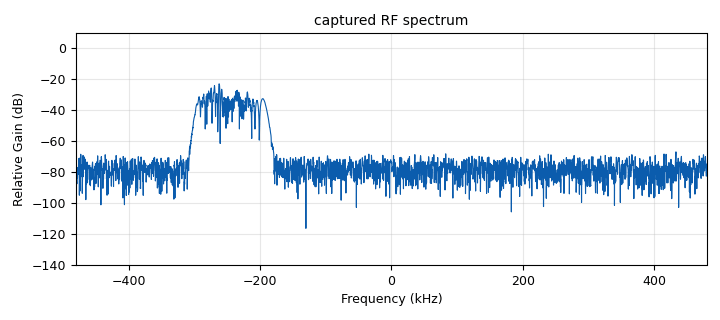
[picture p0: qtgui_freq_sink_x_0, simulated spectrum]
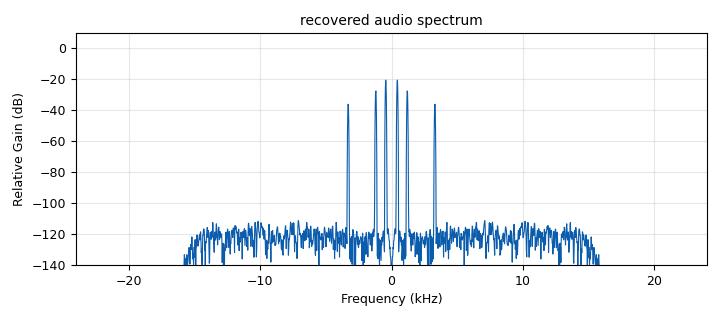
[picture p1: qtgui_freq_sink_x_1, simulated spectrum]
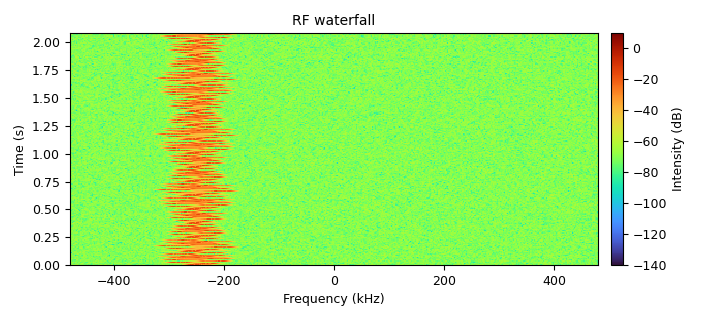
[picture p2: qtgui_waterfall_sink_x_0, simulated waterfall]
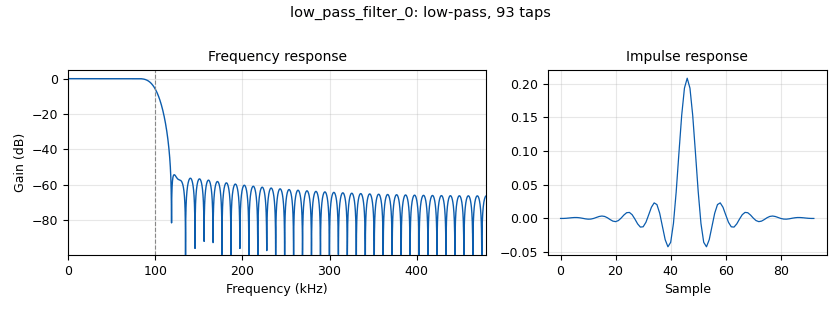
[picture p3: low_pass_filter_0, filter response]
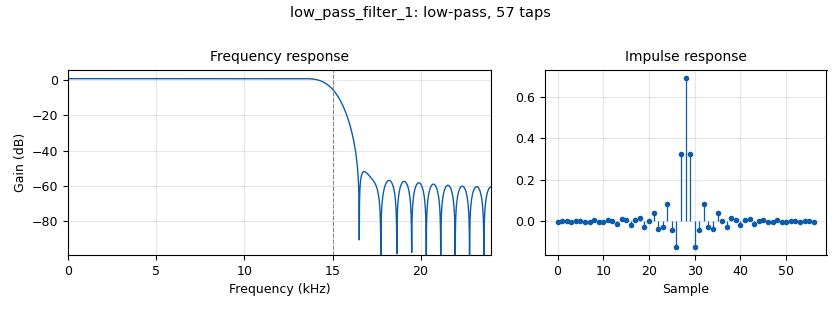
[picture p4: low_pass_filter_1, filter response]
options:
  parameters:
    generate_options: qt_gui
    id: fm_receiver
    output_language: python
    title: WBFM receiver (simulated capture)
  states: {}

blocks:
- name: audio_rate
  id: variable
  parameters:
    value: '48000'
  states: {}
- name: capture_rate
  id: variable
  parameters:
    value: '960000'
  states: {}
- name: deviation
  id: variable
  parameters:
    value: '75000'
  states: {}
- name: if_rate
  id: variable
  parameters:
    value: '192000'
  states: {}
- name: station_offset
  id: variable
  parameters:
    value: '-250000'
  states: {}
- name: analog_fm_deemph_0
  id: analog_fm_deemph
  parameters:
    samp_rate: if_rate
    tau: '75e-6'
  states: {}
- name: analog_frequency_modulator_fc_0
  id: analog_frequency_modulator_fc
  parameters:
    sensitivity: 2*math.pi*deviation/capture_rate
  states: {}
- name: analog_noise_source_x_0
  id: analog_noise_source_x
  parameters:
    amp: '0.02'
    noise_type: analog.GR_GAUSSIAN
    seed: '0'
    type: complex
  states: {}
- name: analog_quadrature_demod_cf_0
  id: analog_quadrature_demod_cf
  parameters:
    gain: if_rate/(2*math.pi*deviation)
  states: {}
- name: analog_sig_source_x_0
  id: analog_sig_source_x
  parameters:
    amp: '1.0'
    freq: '440'
    offset: '0'
    phase: '0'
    samp_rate: capture_rate
    type: float
    waveform: analog.GR_COS_WAVE
  states: {}
- name: analog_sig_source_x_1
  id: analog_sig_source_x
  parameters:
    amp: '0.5'
    freq: '1200'
    offset: '0'
    phase: '0'
    samp_rate: capture_rate
    type: float
    waveform: analog.GR_COS_WAVE
  states: {}
- name: analog_sig_source_x_2
  id: analog_sig_source_x
  parameters:
    amp: '0.3'
    freq: '3300'
    offset: '0'
    phase: '0'
    samp_rate: capture_rate
    type: float
    waveform: analog.GR_COS_WAVE
  states: {}
- name: analog_sig_source_x_3
  id: analog_sig_source_x
  parameters:
    amp: '0.2'
    freq: '2'
    offset: '0.8'
    phase: '0'
    samp_rate: capture_rate
    type: float
    waveform: analog.GR_SIN_WAVE
  states: {}
- name: audio_sink_0
  id: audio_sink
  parameters:
    samp_rate: int(audio_rate)
  states: {}
- name: blocks_add_xx_0
  id: blocks_add_xx
  parameters:
    num_inputs: '3'
    type: float
  states: {}
- name: blocks_add_xx_1
  id: blocks_add_xx
  parameters:
    type: complex
  states: {}
- name: blocks_multiply_const_vxx_0
  id: blocks_multiply_const_vxx
  parameters:
    const: '0.5'
    type: float
  states: {}
- name: blocks_multiply_xx_0
  id: blocks_multiply_xx
  parameters:
    type: float
  states: {}
- name: blocks_rotator_cc_0
  id: blocks_rotator_cc
  parameters:
    phase_inc: 2*math.pi*station_offset/capture_rate
  states: {}
- name: blocks_rotator_cc_1
  id: blocks_rotator_cc
  parameters:
    phase_inc: '-2*math.pi*station_offset/capture_rate'
  states: {}
- name: blocks_throttle2_0
  id: blocks_throttle2
  parameters:
    samples_per_second: capture_rate
    type: complex
  states: {}
- name: import_0
  id: import
  parameters:
    imports: import math
  states: {}
- name: low_pass_filter_0
  id: low_pass_filter
  parameters:
    cutoff_freq: '100000'
    decim: '5'
    gain: '1'
    samp_rate: capture_rate
    type: fir_filter_ccf
    width: '25000'
    win: window.WIN_HAMMING
  states: {}
- name: low_pass_filter_1
  id: low_pass_filter
  parameters:
    cutoff_freq: '15000'
    decim: '1'
    gain: '1.1'
    samp_rate: audio_rate
    type: fir_filter_fff
    width: '2000'
    win: window.WIN_HAMMING
  states: {}
- name: qtgui_freq_sink_x_0
  id: qtgui_freq_sink_x
  parameters:
    bw: capture_rate
    fc: '0'
    fftsize: '4096'
    gui_hint: 0,0,1,1
    name: '"captured RF spectrum"'
    type: complex
  states: {}
- name: qtgui_freq_sink_x_1
  id: qtgui_freq_sink_x
  parameters:
    bw: audio_rate
    fc: '0'
    fftsize: '2048'
    gui_hint: 0,1,1,1
    name: '"recovered audio spectrum"'
    type: float
  states: {}
- name: qtgui_waterfall_sink_x_0
  id: qtgui_waterfall_sink_x
  parameters:
    bw: capture_rate
    fc: '0'
    fftsize: '1024'
    gui_hint: 1,0,1,1
    name: '"RF waterfall"'
    type: complex
  states: {}
- name: rational_resampler_xxx_0
  id: rational_resampler_xxx
  parameters:
    decim: '4'
    interp: '1'
    type: fff
  states: {}

connections:
- [analog_fm_deemph_0, '0', rational_resampler_xxx_0, '0']
- [analog_frequency_modulator_fc_0, '0', blocks_rotator_cc_0, '0']
- [analog_noise_source_x_0, '0', blocks_add_xx_1, '1']
- [analog_quadrature_demod_cf_0, '0', analog_fm_deemph_0, '0']
- [analog_sig_source_x_0, '0', blocks_add_xx_0, '0']
- [analog_sig_source_x_1, '0', blocks_add_xx_0, '1']
- [analog_sig_source_x_2, '0', blocks_add_xx_0, '2']
- [analog_sig_source_x_3, '0', blocks_multiply_xx_0, '1']
- [blocks_add_xx_0, '0', blocks_multiply_xx_0, '0']
- [blocks_add_xx_1, '0', blocks_throttle2_0, '0']
- [blocks_multiply_const_vxx_0, '0', analog_frequency_modulator_fc_0, '0']
- [blocks_multiply_xx_0, '0', blocks_multiply_const_vxx_0, '0']
- [blocks_rotator_cc_0, '0', blocks_add_xx_1, '0']
- [blocks_rotator_cc_1, '0', low_pass_filter_0, '0']
- [blocks_throttle2_0, '0', blocks_rotator_cc_1, '0']
- [blocks_throttle2_0, '0', qtgui_freq_sink_x_0, '0']
- [blocks_throttle2_0, '0', qtgui_waterfall_sink_x_0, '0']
- [low_pass_filter_0, '0', analog_quadrature_demod_cf_0, '0']
- [low_pass_filter_1, '0', audio_sink_0, '0']
- [low_pass_filter_1, '0', qtgui_freq_sink_x_1, '0']
- [rational_resampler_xxx_0, '0', low_pass_filter_1, '0']

metadata:
  file_format: 1
  grc_version: '3.10'
